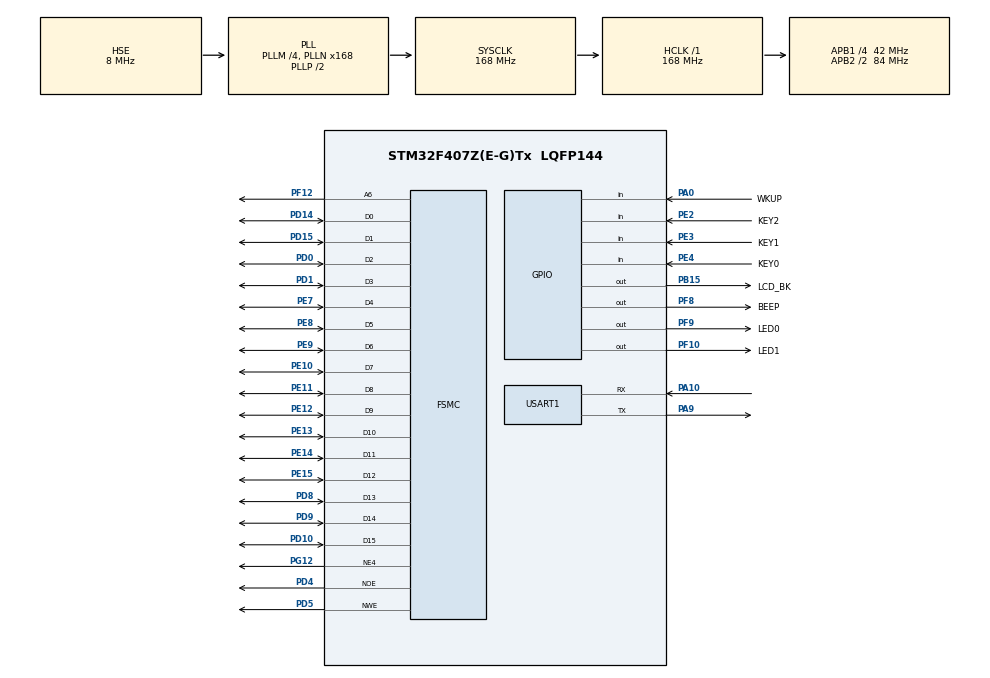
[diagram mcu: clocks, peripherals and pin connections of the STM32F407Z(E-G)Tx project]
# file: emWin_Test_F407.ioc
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FSMC.AddressSetupTime1=9
FSMC.BusTurnAroundDuration1=0
FSMC.DataSetupTime1=8
FSMC.ExtendedMode1=FSMC_EXTENDED_MODE_ENABLE
Mcu.Family=STM32F4
Mcu.Name=STM32F407Z(E-G)Tx
Mcu.Package=LQFP144
NVIC.PriorityGroup=NVIC_PRIORITYGROUP_4
PA0-WKUP.GPIO_Label=WKUP
PA0-WKUP.GPIO_PuPd=GPIO_PULLDOWN
PA0-WKUP.Signal=GPIO_Input
PA10.Mode=Asynchronous
PA10.Signal=USART1_RX
PA9.Mode=Asynchronous
PA9.Signal=USART1_TX
PB15.GPIO_Label=LCD_BK
PB15.GPIO_ModeDefaultOutputPP=GPIO_MODE_OUTPUT_PP
PB15.GPIO_PuPd=GPIO_PULLUP
PB15.GPIO_Speed=GPIO_SPEED_FREQ_VERY_HIGH
PB15.PinState=GPIO_PIN_SET
PB15.Signal=GPIO_Output
PC14-OSC32_IN.Mode=LSE-External-Oscillator
PC14-OSC32_IN.Signal=RCC_OSC32_IN
PC15-OSC32_OUT.Mode=LSE-External-Oscillator
PC15-OSC32_OUT.Signal=RCC_OSC32_OUT
PD0.Signal=FSMC_D2_DA2
PD1.Signal=FSMC_D3_DA3
PD10.Signal=FSMC_D15_DA15
PD14.Signal=FSMC_D0_DA0
PD15.Signal=FSMC_D1_DA1
PD4.Signal=FSMC_NOE
PD5.Signal=FSMC_NWE
PD8.Signal=FSMC_D13_DA13
PD9.Signal=FSMC_D14_DA14
PE10.Signal=FSMC_D7_DA7
PE11.Signal=FSMC_D8_DA8
PE12.Signal=FSMC_D9_DA9
PE13.Signal=FSMC_D10_DA10
PE14.Signal=FSMC_D11_DA11
PE15.Signal=FSMC_D12_DA12
PE2.GPIO_Label=KEY2
PE2.GPIO_PuPd=GPIO_PULLUP
PE2.Signal=GPIO_Input
PE3.GPIO_Label=KEY1
PE3.GPIO_PuPd=GPIO_PULLUP
PE3.Signal=GPIO_Input
PE4.GPIO_Label=KEY0
PE4.GPIO_PuPd=GPIO_PULLUP
PE4.Signal=GPIO_Input
PE7.Signal=FSMC_D4_DA4
PE8.Signal=FSMC_D5_DA5
PE9.Signal=FSMC_D6_DA6
PF10.GPIO_Label=LED1
PF10.GPIO_ModeDefaultOutputPP=GPIO_MODE_OUTPUT_PP
PF10.GPIO_PuPd=GPIO_PULLUP
PF10.GPIO_Speed=GPIO_SPEED_FREQ_VERY_HIGH
PF10.PinState=GPIO_PIN_SET
PF10.Signal=GPIO_Output
PF12.Signal=FSMC_A6
PF8.GPIO_Label=BEEP
PF8.GPIO_PuPd=GPIO_PULLUP
PF8.GPIO_Speed=GPIO_SPEED_FREQ_VERY_HIGH
PF8.Signal=GPIO_Output
PF9.GPIO_Label=LED0
PF9.GPIO_PuPd=GPIO_PULLUP
PF9.GPIO_Speed=GPIO_SPEED_FREQ_VERY_HIGH
PF9.PinState=GPIO_PIN_SET
PF9.Signal=GPIO_Output
PG12.Mode=NorPsramChipSelect4_1
PG12.Signal=FSMC_NE4
PH0-OSC_IN.Mode=HSE-External-Oscillator
PH0-OSC_IN.Signal=RCC_OSC_IN
PH1-OSC_OUT.Mode=HSE-External-Oscillator
PH1-OSC_OUT.Signal=RCC_OSC_OUT
ProjectManager.HeapSize=0x200
ProjectManager.StackSize=0x400
ProjectManager.TargetToolchain=STM32CubeIDE
RCC.48MHZClocksFreq_Value=84000000
RCC.AHBFreq_Value=168000000
RCC.APB1CLKDivider=RCC_HCLK_DIV4
RCC.APB1Freq_Value=42000000
RCC.APB1TimFreq_Value=84000000
RCC.APB2CLKDivider=RCC_HCLK_DIV2
RCC.APB2Freq_Value=84000000
RCC.APB2TimFreq_Value=168000000
RCC.CortexFreq_Value=168000000
RCC.HCLKFreq_Value=168000000
RCC.HSE_VALUE=8000000
RCC.HSI_VALUE=16000000
RCC.PLLM=4
RCC.PLLN=168
RCC.PLLSourceVirtual=RCC_PLLSOURCE_HSE
RCC.SYSCLKFreq_VALUE=168000000
RCC.SYSCLKSource=RCC_SYSCLKSOURCE_PLLCLK
RCC.VCOOutputFreq_Value=336000000
SH.FSMC_A6.0=FSMC_A6,A6_1
SH.FSMC_D0_DA0.0=FSMC_D0,16b-d1
SH.FSMC_D10_DA10.0=FSMC_D10,16b-d1
SH.FSMC_D11_DA11.0=FSMC_D11,16b-d1
SH.FSMC_D12_DA12.0=FSMC_D12,16b-d1
SH.FSMC_D13_DA13.0=FSMC_D13,16b-d1
SH.FSMC_D14_DA14.0=FSMC_D14,16b-d1
SH.FSMC_D15_DA15.0=FSMC_D15,16b-d1
SH.FSMC_D1_DA1.0=FSMC_D1,16b-d1
SH.FSMC_D2_DA2.0=FSMC_D2,16b-d1
SH.FSMC_D3_DA3.0=FSMC_D3,16b-d1
SH.FSMC_D4_DA4.0=FSMC_D4,16b-d1
SH.FSMC_D5_DA5.0=FSMC_D5,16b-d1
SH.FSMC_D6_DA6.0=FSMC_D6,16b-d1
SH.FSMC_D7_DA7.0=FSMC_D7,16b-d1
SH.FSMC_D8_DA8.0=FSMC_D8,16b-d1
SH.FSMC_D9_DA9.0=FSMC_D9,16b-d1
SH.FSMC_NOE.0=FSMC_NOE,Lcd1
SH.FSMC_NWE.0=FSMC_NWE,Lcd1
TIM6.Period=999
TIM6.Prescaler=83
USART1.VirtualMode=VM_ASYNC
VP_CRC_VS_CRC.Mode=CRC_Activate
VP_RTC_VS_RTC_Activate.Mode=RTC_Enabled
VP_TIM6_VS_ClockSourceINT.Mode=Enable_Timer
board=custom

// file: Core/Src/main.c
/* USER CODE BEGIN Header */
/**
  ******************************************************************************
  * @file           : main.c
  * @brief          : Main program body
  ******************************************************************************
  * @attention
  *
  * Copyright (c) 2024 STMicroelectronics.
  * All rights reserved.
  *
  * This software is licensed under terms that can be found in the LICENSE file
  * in the root directory of this software component.
  * If no LICENSE file comes with this software, it is provided AS-IS.
  *
  ******************************************************************************
  */
/* USER CODE END Header */
#include "main.h"
#include "crc.h"
#include "rtc.h"
#include "tim.h"
#include "usart.h"
#include "gpio.h"
#include "fsmc.h"

/* USER CODE BEGIN Includes */
#include <stdio.h>

#include "sys.h"
#include "usart.h"
#include "delay.h"
#include "GUIDEMO.h"
#include "led.h"
#include "lcd.h"
#include "lcd_testWith_touch.h"
#include "malloc.h"
#include "btim.h"
#include "GUI_Calibration.h"
/* USER CODE END Includes */

void SystemClock_Config(void);

int main(void)
{

  /* MCU Configuration--------------------------------------------------------*/

  /* Reset of all peripherals, Initializes the Flash interface and the Systick. */
  HAL_Init();

  /* USER CODE BEGIN Init */
    // 先将时钟源选择为内部时钟
    __HAL_RCC_HSI_ENABLE();
    __HAL_RCC_SYSCLK_CONFIG(RCC_SYSCLKSOURCE_HSI);
  /* USER CODE END Init */

  /* Configure the system clock */
  SystemClock_Config();

  /* Initialize all configured peripherals */
  MX_GPIO_Init();
  MX_USART1_UART_Init();
  MX_FSMC_Init();
  MX_CRC_Init();
  MX_RTC_Init();
  MX_TIM6_Init();
  /* USER CODE BEGIN 2 */
    uint8_t lcd_id[12];
    delay_init(168); /* 延时初始化 */
    lcd_init(); /* 初始化LCD */
    sprintf((char*)lcd_id, "LCD ID:%04X", lcddev.id); /* 将LCD ID打印到lcd_id数组 */
    HAL_UART_Transmit(&huart1, (uint8_t*)lcd_id, 12, 0xffff); /* 串口发送LCD ID */

  /* USER CODE END 2 */

  /* Infinite loop */
  /* USER CODE BEGIN WHILE */

    btim_timx_int_init(999, 83); /* 定时1ms提供emwin时基 */
    __HAL_RCC_CRC_CLK_ENABLE();
    tp_init();
    GUI_Init();
    GUIDEMO_Main(); /* 运行emwin例程 */
    // emwin_calibration();
    while (1)

    {
    /* USER CODE END WHILE */

    }
}

void SystemClock_Config(void)
{
  RCC_OscInitTypeDef RCC_OscInitStruct = {0};
  RCC_ClkInitTypeDef RCC_ClkInitStruct = {0};

  /** Configure the main internal regulator output voltage
  */
  __HAL_RCC_PWR_CLK_ENABLE();
  __HAL_PWR_VOLTAGESCALING_CONFIG(PWR_REGULATOR_VOLTAGE_SCALE1);

  /** Initializes the RCC Oscillators according to the specified parameters
  * in the RCC_OscInitTypeDef structure.
  */
  RCC_OscInitStruct.OscillatorType = RCC_OSCILLATORTYPE_LSI|RCC_OSCILLATORTYPE_HSE;
  RCC_OscInitStruct.HSEState = RCC_HSE_ON;
  RCC_OscInitStruct.LSIState = RCC_LSI_ON;
  RCC_OscInitStruct.PLL.PLLState = RCC_PLL_ON;
  RCC_OscInitStruct.PLL.PLLSource = RCC_PLLSOURCE_HSE;
  RCC_OscInitStruct.PLL.PLLM = 4;
  RCC_OscInitStruct.PLL.PLLN = 168;
  RCC_OscInitStruct.PLL.PLLP = RCC_PLLP_DIV2;
  RCC_OscInitStruct.PLL.PLLQ = 4;
  if (HAL_RCC_OscConfig(&RCC_OscInitStruct) != HAL_OK)
  {
    Error_Handler();
  }

  /** Initializes the CPU, AHB and APB buses clocks
  */
  RCC_ClkInitStruct.ClockType = RCC_CLOCKTYPE_HCLK|RCC_CLOCKTYPE_SYSCLK
                              |RCC_CLOCKTYPE_PCLK1|RCC_CLOCKTYPE_PCLK2;
  RCC_ClkInitStruct.SYSCLKSource = RCC_SYSCLKSOURCE_PLLCLK;
  RCC_ClkInitStruct.AHBCLKDivider = RCC_SYSCLK_DIV1;
  RCC_ClkInitStruct.APB1CLKDivider = RCC_HCLK_DIV4;
  RCC_ClkInitStruct.APB2CLKDivider = RCC_HCLK_DIV2;

  if (HAL_RCC_ClockConfig(&RCC_ClkInitStruct, FLASH_LATENCY_5) != HAL_OK)
  {
    Error_Handler();
  }
}

void Error_Handler(void)
{
    __disable_irq();
    while (1)
    {
    }
}
